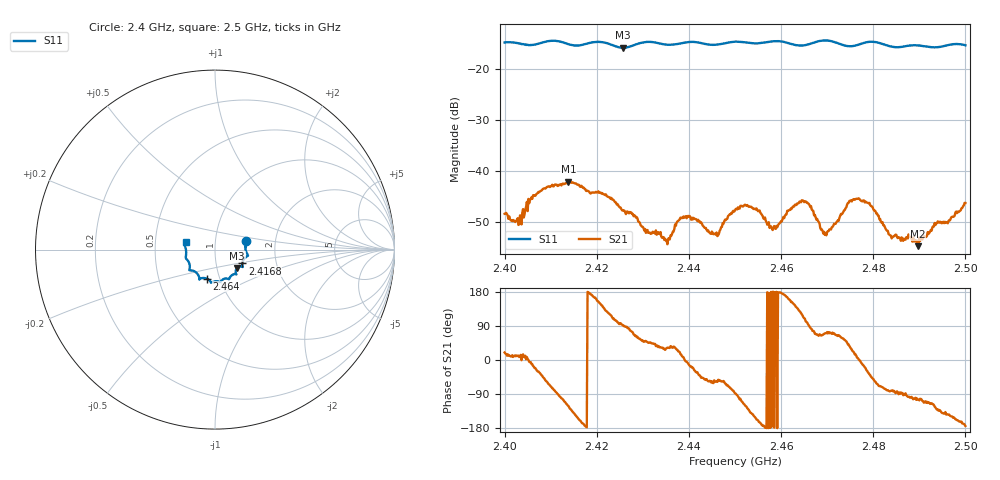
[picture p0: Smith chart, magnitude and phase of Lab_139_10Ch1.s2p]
# Hz S RI R 50
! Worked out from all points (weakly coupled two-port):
!   601 points, 2.4 GHz to 2.5 GHz, reference 50 ohm
!   highest |S21| = -42.12 dB at 2.4138 GHz (marker M1); lowest = -54.7 dB at 2.4897 GHz (marker M2)
!   lowest |S11| = -15.9 dB at 2.4257 GHz (marker M3), VSWR 1.38, Z = 62.4 - j13.1 ohm
!   |S11| at or under -10 dB: start of sweep to end of sweep
!   S12 and S22 are empty: the file has one direction only
!   S11 on the Smith chart (normalised r, x): 2.4 GHz: 1.41, +0.14; 2.4168 GHz: 1.34, -0.21; 2.464 GHz: 0.87, -0.29; 2.5 GHz: 0.72, +0.06
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2.4e9  0.1732 0.049  0.00358 0.00129  0 0  0 0
2.402667e9  0.174 0.0371  0.00323 0.000589  0 0  0 0
2.406667e9  0.1717 -0.00687  0.00531 -0.0021  0 0  0 0
2.413833e9  0.167 -0.0456  -0.00408 -0.00669  0 0  0 0
2.416667e9  0.1524 -0.0751  -0.00689 -0.00195  0 0  0 0
2.416833e9  0.1522 -0.077  -0.0068 -0.00159  0 0  0 0
2.425667e9  0.1224 -0.1023  -0.000139 0.00413  0 0  0 0
2.433333e9  0.1128 -0.1365  0.00209 0.00141  0 0  0 0
2.435333e9  0.0989 -0.1396  0.00161 0.00104  0 0  0 0
2.439667e9  0.0801 -0.1624  0.00357 -0.000437  0 0  0 0
2.446e9  0.0472 -0.1645  0.00137 -0.00209  0 0  0 0
2.45e9  0.0296 -0.1807  0.000145 -0.0041  0 0  0 0
2.454833e9  0.00324 -0.1763  -0.00386 -0.00157  0 0  0 0
2.4585e9  -0.0204 -0.1841  -0.00289 -6.91e-05  0 0  0 0
2.464e9  -0.0463 -0.1614  -0.00317 0.00389  0 0  0 0
2.466667e9  -0.076 -0.1595  0.000646 0.00413  0 0  0 0
2.469667e9  -0.0874 -0.1667  0.000816 0.00233  0 0  0 0
2.476833e9  -0.1252 -0.117  0.00539 0.000197  0 0  0 0
2.4795e9  -0.1424 -0.1147  0.00326 -0.00315  0 0  0 0
2.483333e9  -0.1405 -0.0895  0.000371 -0.00238  0 0  0 0
2.489667e9  -0.163 -0.0433  -0.000457 -0.00178  0 0  0 0
2.5e9  -0.1638 0.0418  -0.00483 -0.000502  0 0  0 0
